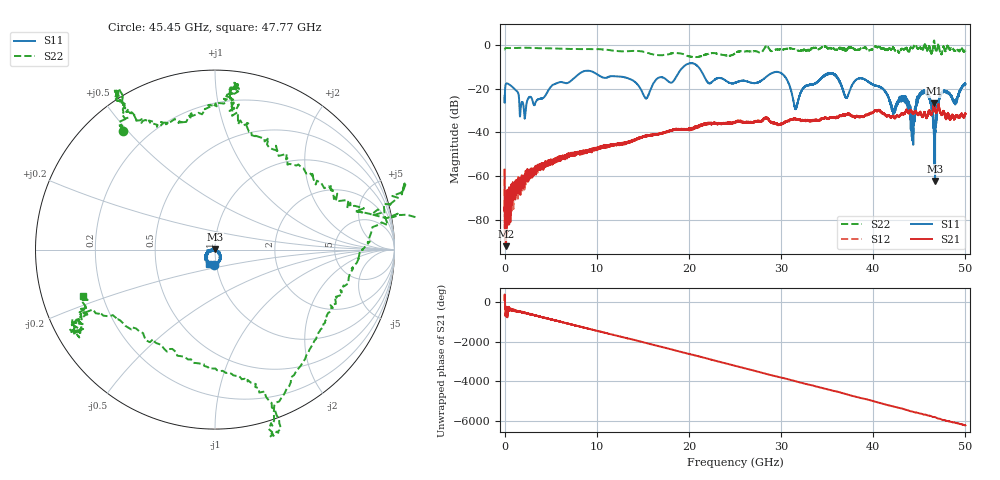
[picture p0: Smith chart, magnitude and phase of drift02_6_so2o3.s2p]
!Created with skrf (http://scikit-rf.org).
# Hz S RI R 50.0
!freq ReS11 ImS11 ReS21 ImS21 ReS12 ImS12 ReS22 ImS22
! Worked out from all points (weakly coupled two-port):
!   10001 points, 300 kHz to 50 GHz, reference 50 ohm
!   highest |S21| = -26.77 dB at 46.6 GHz (marker M1); lowest = -92.0 dB at 160.3 MHz (marker M2)
!   lowest |S11| = -62.2 dB at 46.71 GHz (marker M3), VSWR 1.00, Z = 50 + j0.077 ohm
!   |S11| at or under -10 dB: start of sweep to 19.41 GHz; 21 GHz to end of sweep
!   |S22| runs from -5.7 to 2.0 dB; largest |S21 - S12| = 0.004
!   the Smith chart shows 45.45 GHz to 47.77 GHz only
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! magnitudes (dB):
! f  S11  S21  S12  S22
! 300 kHz  -23.3  -57.2  -56.5  -2.1
! 160.3 MHz  -17.7  -92.0  -72.4  -1.4
! 2.185 GHz  -33.6  -63.1  -60.9  -1.3
! 8.335 GHz  -12.5  -48.9  -48.8  -1.9
! 15.33 GHz  -24.5  -41.6  -41.6  -3.4
! 16.67 GHz  -15.1  -40.9  -40.7  -4.7
! 20.29 GHz  -8.3  -38.4  -38.4  -5.5
! 25 GHz  -17.4  -35.5  -35.2  -3.9
! 29.84 GHz  -12.6  -36.5  -36.5  -2.0
! 31.59 GHz  -29.1  -33.8  -34.1  -2.4
! 33.34 GHz  -18.2  -34.4  -34.6  -1.6
! 35.62 GHz  -13.3  -33.3  -33.1  -1.6
! 37.1 GHz  -24.2  -31.8  -31.7  -2.3
! 38.76 GHz  -15.4  -32.8  -32.6  -1.1
! 41.67 GHz  -24.1  -32.1  -32.2  -2.0
! 43.47 GHz  -24.4  -30.8  -30.7  -1.7
! 44.25 GHz  -35.8  -31.1  -31.1  -1.5
! 45.69 GHz  -21.7  -32.2  -32.0  -0.7
! 46.6 GHz  -41.2  -26.8  -26.7  1.9
! 46.71 GHz  -62.2  -29.7  -29.4  -1.0
! 47.46 GHz  -22.0  -31.8  -31.7  -3.6
! 50 GHz  -17.8  -31.4  -31.6  -2.6
